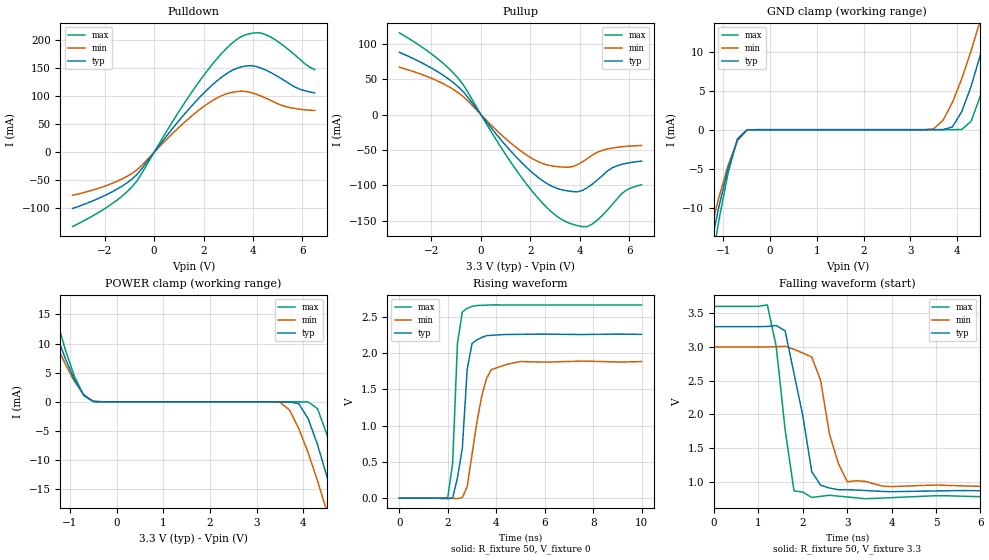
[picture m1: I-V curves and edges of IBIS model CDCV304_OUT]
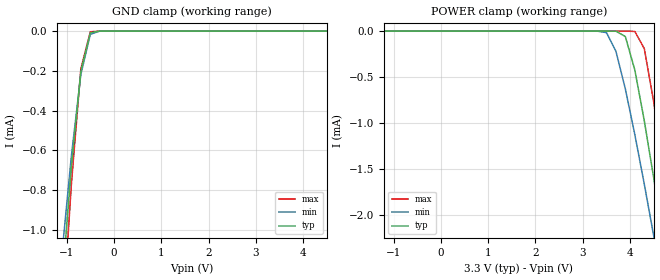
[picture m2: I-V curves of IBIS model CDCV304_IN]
|   TEXAS INSTRUMENTS INCORPORATED
|   IBIS Model of CDCV304
|   3.3-V Clock DRIVER
|   8-pin (PW) Package
[IBIS Ver]   2.1
[File Name]   cdcv304.ibs
[File Rev]   1.0
[Date]   04/14/00
[Source]   File originated at Texas Instruments, Inc.
[Notes]   The following is an IBIS list for the CDCV304.
|   - All test data contained in this file are derived from
|   hspice(tm) simulations.
|   - File created by CDC Applications, HSCC.
[Disclaimer] Property of Texas Instruments Incorporated.  Unauthorized
                reproduction and/or distribution is strictly prohibited.
                This product is protected under copyright law.
                Created 2000, (C) Copyright 2000, Texas Instruments Inc.,
                All Rights Reserved
                UNLESS THERE IS A SIGNED, WRITTEN AGREEMENT TO THE
                CONTRARY, TEXAS INSTRUMENTS ("TI") IS PROVIDING THE IBIS
                MODELS "AS IS" AND WITHOUT ANY WARRANTY, EXPRESSED OR
                IMPLIED.  TI assumes no liability for:
                 1) the accuracy of the IBIS models provided to your
                    company;
                 2) the proper functioning of these IBIS models in your
                    design or for any resulting applications; or
                 3) infringement of patents, copyrights or intellectual
                    property rights resulting from your use of these IBIS
                    models.
                TI provides IBIS Models as a service to our customers.
                You and your company shall not distribute, sell or give
                these models to anyone else without prior written
                permission from TI.
                TI reserves the right to make changes to our products or
                to discontinue any semiconductor product or service
                without notice, and advises our customers to obtain the
                latest version of relevant information to verify, before
                placing orders, that the information being relied on is
                current.
                Please be aware that your receipt and use of the IBIS
                information provided shall serve as acceptance of these
                terms and conditions.  If you do not accept these terms,
                you should return or destroy the IBIS models and any
                other accompanying information immediately.
[Component]   CDCV304(3.3V_CLOCK_DRIVER)
[Manufacturer]  Texas Instruments, Inc.
[Package]
|   typ   min   max
R_pkg   0.040   0.034   0.046
L_pkg   2.625nH   2.419nH   2.861nH
C_pkg   0.304pF   0.286pF   0.321pF
[Pin]   signal_name   model_name
1   CLKIN   CDCV304_IN
2   OE   CDCV304_OE
3   1Y0   CDCV304_OUT
4   GND   GND
5   1Y1   CDCV304_OUT
6   VDD   POWER
7   1Y2   CDCV304_OUT
8   1Y3   CDCV304_OUT
| Models and submodels in the file (3): CDCV304_OUT (3-state), CDCV304_IN (Input), CDCV304_OE (Input)
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|   Model CDCV304_OUT
[Model]   CDCV304_OUT
Model_type   3-state
Polarity   Non-Inverting
Enable   Active-High
Vmeas = 1.5V   |Vref for timing measurements.
Cref = 25pF   |load capacitance for timing spec.
Rref = 500   |500 Ohm to GND.
Vref = 0   |Timing specification test load voltage; GND
|   typ   min   max
C_comp   2.8pF   NA   9pF
[Voltage range]   3.3   3.0   3.6
[Temperature range]   40   0   85
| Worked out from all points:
|   slope of the pulldown table from 0 to 0.495 V, typ, clamps not added: 17.4 ohm
|   slope of the pullup table from 0 to 0.495 V, typ, clamps not added: 22.3 ohm
|   GND clamp passes 1 mA (typ) near -0.65 V on its own axis
|   POWER clamp passes 1 mA (typ) near -0.68 V on its own axis
|   rising waveform, R_fixture 50, V_fixture 0: 20-80 % time 335ps typ, 584ps min, 193ps max; typ from 0 V to 2.26 V
|   falling waveform, R_fixture 50, V_fixture 3.3: 20-80 % time 416ps typ, 410ps min, 303ps max; typ from 3.3 V to 0.867 V
| Notes: (1) Vtable = Vcc - Voutput
|   (2) Pullup data includes the effects of the ESD
|   clamping circuitry
[Pullup]
|   40C:3.3V:nominal   85C:3.0V:weak   0C:3.6V:strong
|   Voltage   I(typ)   I(min)   I(max)
-3.3V     88.24mA    67mA       115.7mA
-1.9V     63.84mA    49.93mA    83.25mA
-900mV    38.85mA    30.58mA    50.64mA
1.7V      -69.67mA   -53.61mA   -91.53mA
2.5V      -93.58mA   -69.21mA   -125.5mA
3.3V      -106.5mA   -74.18mA   -149mA
3.9V      -109.3mA   -70.83mA   -157mA
4.3V      -103.5mA   -62.44mA   -158.4mA
4.7V      -92.88mA   -53.34mA   -149.5mA
5.3V      -75.51mA   -47.45mA   -127.9mA
5.9V      -68.76mA   -44.83mA   -106.6mA
6.5V      -65.87mA   -43.68mA   -99.27mA
[Pulldown]
|   40C:3.3V:nominal   85C:3.0V:weak   0C:3.6V:strong
|   Voltage   I(typ)   I(min)   I(max)
-3.3V     -100.2mA   -76.67mA   -132.4mA
-1.9V     -75.01mA   -58.78mA   -97.6mA
-900mV    -47.82mA   -37.74mA   -61.93mA
1.1V      61.3mA     48.29mA    79.08mA
1.9V      100.5mA    78.08mA    130.6mA
2.7V      132.7mA    100.2mA    174.5mA
3.5V      151.9mA    108.8mA    205.5mA
4.1V      153.2mA    104mA      212.9mA
4.5V      146.9mA    96.98mA    210mA
5.3V      127.1mA    81.76mA    187.9mA
5.9V      112.5mA    76.69mA    165.6mA
6.5V      105.8mA    74.44mA    147.3mA
[GND Clamp]
|   40C:3.3V:nominal   85C:3.0V:weak   0C:3.6V:strong
|   Voltage   I(typ)   I(min)   I(max)
-3.3V     -89.26mA   -75.29mA   -109.5mA
-1.3V     -15.72mA   -13.54mA   -18.89mA
-1.1V     -9.954mA   -8.748mA   -11.72mA
-700mV    -1.28mA    -1.396mA   -1.169mA
-500mV    -41.84uA   -85.02uA   -18.78uA
3.5V      20.1nA     113.8uA    10.65nA
3.9V      365.2uA    3.496mA    61.69nA
4.1V      2.311mA    6.532mA    29.64uA
4.5V      9.621mA    14.08mA    4.347mA
4.7V      14.27mA    18.37mA    9.059mA
4.9V      19.37mA    22.89mA    14.71mA
6.5V      68.27mA    63.5mA     75.98mA
[POWER Clamp]
|   40C:3.3V:nominal   85C:3.0V:weak   0C:3.6V:strong
|   Voltage   I(typ)   I(min)   I(max)
-3.3V     71.55mA    58.24mA    93.72mA
-1.7V     22.04mA    18.36mA    27.9mA
-1.5V     16.77mA    14.08mA    21.05mA
-900mV    3.809mA    3.496mA    4.347mA
-500mV    60.1uA     113.8uA    29.64uA
3.5V      -28.72nA   -85.02uA   -19.28nA
4.1V      -2.893mA   -8.748mA   -18.78uA
4.3V      -7.339mA   -13.54mA   -1.169mA
4.5V      -12.76mA   -18.79mA   -5.544mA
4.7V      -18.82mA   -24.37mA   -11.72mA
4.9V      -25.35mA   -30.24mA   -18.88mA
6.5V      -85.32mA   -81.98mA   -90.15mA
[ramp]
| variable   typ   min   max
dV/dt_r   1.3634E+00/3.2045E-10  1.1382E+00/5.9005E-10  1.6021E+00/1.9338E-10
dV/dt_f   1.4862E+00/4.2439E-10  1.2600E+00/3.7876E-10  1.7300E+00/2.8615E-10
[Rising Waveform]
R_fixture = 50
V_fixture = 0
|   40C:3.3V:nominal   85C:3.0V:weak   0C:3.6V:strong
|   Time   V(typ)   V(min)   V(max)
0s        0V         0V         -1.462uV
2ns       -7.478mV   1.194mV    10.71mV
2.2ns     2.378mV    -2.799mV   482.2mV
2.4ns     281.9mV    -7.451mV   2.139V
2.6ns     685.4mV    9.597mV    2.563V
2.8ns     1.771V     158.6mV    2.614V
3ns       2.128V     601mV      2.64V
3.4ns     2.212V     1.402V     2.655V
3.8ns     2.242V     1.769V     2.66V
10ns      2.256V     1.88V      2.66V
[Falling Waveform]
R_fixture = 50
V_fixture = 3.3
V_fixture_min = 3.0
V_fixture_max = 3.6
|   40C:3.3V:nominal   85C:3.0V:weak   0C:3.6V:strong
|   Time   V(typ)   V(min)   V(max)
0s        3.3V       3V         3.6V
1.2ns     3.303V     2.999V     3.622V
1.4ns     3.317V     3.003V     3.008V
1.6ns     3.239V     3.009V     1.775V
1.8ns     2.608V     2.965V     868.1mV
2.2ns     1.151V     2.851V     769.7mV
2.4ns     952.8mV    2.503V     786.9mV
2.6ns     909.4mV    1.706V     802mV
3ns       884.1mV    1.002V     776.7mV
10ns      867.4mV    948.2mV    793.1mV
|   Model CDCV304_IN
[Model]   CDCV304_IN
Model_type   Input
Polarity   Non-Inverting
Vinl = 0.8V
Vinh = 2.0V
|   typ   min   max
C_comp   2.5pF   NA   6pF
[Voltage Range]   3.3   3.0   3.6
[Temperature range]   40   0   85
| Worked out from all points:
|   GND clamp passes 1 mA (typ) near -1.01 V on its own axis
[GND Clamp]
|   40C:3.3V:nominal   85C:3.0V:weak   0C:3.6V:strong
|   Voltage   I(typ)   I(min)   I(max)
-3.3V     -9.387mA   -7.872mA   -11.61mA
-1.1V     -1.278mA   -1.123mA   -1.509mA
-900mV    -684.4uA   -628.5uA   -770.6uA
-700mV    -203.7uA   -218.5uA   -190.1uA
-500mV    -8.062uA   -16.38uA   -3.548uA
-300mV    -36.49nA   -171.5nA   -6.088nA
6.5V      3.916nA    3.963nA    3.913nA
[POWER Clamp]
|   40C:3.3V:nominal   85C:3.0V:weak   0C:3.6V:strong
|   Voltage   I(typ)   I(min)   I(max)
-3.3V     3.976nA    3.842nA    4.154nA
3.3V      0A         -171.5nA   180.7pA
3.5V      -1.679nA   -16.38uA   60.25pA
3.7V      -647.2nA   -218.5uA   -63.24pA
3.9V      -59.34uA   -628.5uA   -6.088nA
4.1V      -422.5uA   -1.123mA   -3.548uA
4.3V      -972.4uA   -1.66mA    -190.1uA
4.5V      -1.596mA   -2.225mA   -770.6uA
4.7V      -2.262mA   -2.809mA   -1.509mA
4.9V      -2.955mA   -3.41mA    -2.317mA
6.5V      -8.993mA   -8.532mA   -9.667mA
